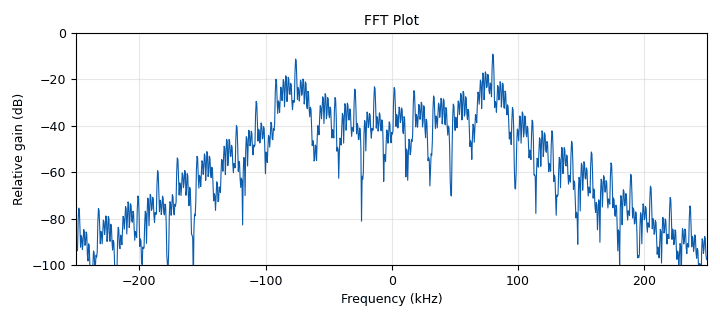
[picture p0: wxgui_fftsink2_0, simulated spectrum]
<?xml version='1.0' encoding='utf-8'?>
<?grc format='1' created='3.7.8'?>
<flow_graph>
<block>
<key>options</key>
<param><key>id</key><value>GFSK_tests</value></param>
<param><key>category</key><value>Custom</value></param>
<param><key>generate_options</key><value>wx_gui</value></param>
<param><key>realtime_scheduling</key><value>1</value></param>
</block>
<block>
<key>variable</key>
<param><key>id</key><value>audio_rate</value></param>
<param><key>value</key><value>125e3</value></param>
</block>
<block>
<key>variable</key>
<param><key>id</key><value>demod_samp_per_sym</value></param>
<param><key>value</key><value>64</value></param>
</block>
<block>
<key>variable</key>
<param><key>id</key><value>end_rate</value></param>
<param><key>value</key><value>(audio_rate/samp_per_sym)*demod_samp_per_sym</value></param>
</block>
<block>
<key>variable</key>
<param><key>id</key><value>samp_per_sym</value></param>
<param><key>value</key><value>4</value></param>
</block>
<block>
<key>variable</key>
<param><key>id</key><value>samp_rate</value></param>
<param><key>value</key><value>audio_rate*samp_per_sym</value></param>
</block>
<block>
<key>analog_random_source_x</key>
<param><key>id</key><value>analog_random_source_x_0</value></param>
<param><key>_enabled</key><value>0</value></param>
<param><key>max</key><value>255</value></param>
<param><key>min</key><value>0</value></param>
<param><key>num_samps</key><value>1000</value></param>
<param><key>type</key><value>byte</value></param>
<param><key>repeat</key><value>True</value></param>
</block>
<block>
<key>blocks_add_const_vxx</key>
<param><key>id</key><value>blocks_add_const_vxx_0</value></param>
<param><key>const</key><value>-1</value></param>
<param><key>type</key><value>float</value></param>
</block>
<block>
<key>blocks_char_to_float</key>
<param><key>id</key><value>blocks_char_to_float_0</value></param>
<param><key>scale</key><value>1</value></param>
</block>
<block>
<key>blocks_char_to_float</key>
<param><key>id</key><value>blocks_char_to_float_0_0</value></param>
<param><key>_enabled</key><value>0</value></param>
<param><key>scale</key><value>1</value></param>
</block>
<block>
<key>blocks_float_to_char</key>
<param><key>id</key><value>blocks_float_to_char_0</value></param>
<param><key>scale</key><value>1</value></param>
</block>
<block>
<key>blocks_multiply_const_vxx</key>
<param><key>id</key><value>blocks_multiply_const_vxx_0</value></param>
<param><key>const</key><value>2</value></param>
<param><key>type</key><value>float</value></param>
</block>
<block>
<key>blocks_throttle</key>
<param><key>id</key><value>blocks_throttle_0</value></param>
<param><key>samples_per_second</key><value>audio_rate</value></param>
<param><key>type</key><value>byte</value></param>
</block>
<block>
<key>blocks_throttle</key>
<param><key>id</key><value>blocks_throttle_0_0</value></param>
<param><key>_enabled</key><value>0</value></param>
<param><key>samples_per_second</key><value>audio_rate</value></param>
<param><key>type</key><value>byte</value></param>
</block>
<block>
<key>blocks_vector_source_x</key>
<param><key>id</key><value>blocks_vector_source_x_0</value></param>
<param><key>type</key><value>byte</value></param>
<param><key>repeat</key><value>True</value></param>
<param><key>vector</key><value>(1,1,0,0,1,0,1,0)</value></param>
</block>
<block>
<key>digital_gfsk_demod</key>
<param><key>id</key><value>digital_gfsk_demod_0</value></param>
<param><key>_enabled</key><value>0</value></param>
<param><key>freq_error</key><value>0.0</value></param>
<param><key>gain_mu</key><value>0.175</value></param>
<param><key>mu</key><value>0.5</value></param>
<param><key>omega_relative_limit</key><value>0.005</value></param>
<param><key>samples_per_symbol</key><value>demod_samp_per_sym</value></param>
<param><key>sensitivity</key><value>1.0</value></param>
</block>
<block>
<key>digital_gfsk_mod</key>
<param><key>id</key><value>digital_gfsk_mod_1</value></param>
<param><key>bt</key><value>0.35</value></param>
<param><key>samples_per_symbol</key><value>samp_per_sym</value></param>
<param><key>sensitivity</key><value>1.0</value></param>
</block>
<block>
<key>wxgui_constellationsink2</key>
<param><key>id</key><value>wxgui_constellationsink2_0</value></param>
<param><key>const_size</key><value>2048</value></param>
<param><key>_enabled</key><value>0</value></param>
<param><key>frame_rate</key><value>5</value></param>
<param><key>gain_mu</key><value>0.005</value></param>
<param><key>loop_bw</key><value>6.28/100.0</value></param>
<param><key>M</key><value>4</value></param>
<param><key>fmax</key><value>0.06</value></param>
<param><key>mu</key><value>0.5</value></param>
<param><key>omega_limit</key><value>0.005</value></param>
<param><key>samp_rate</key><value>samp_rate</value></param>
<param><key>symbol_rate</key><value>samp_rate</value></param>
<param><key>theta</key><value>0</value></param>
<param><key>title</key><value>Constellation Plot</value></param>
</block>
<block>
<key>wxgui_fftsink2</key>
<param><key>id</key><value>wxgui_fftsink2_0</value></param>
<param><key>avg_alpha</key><value>0</value></param>
<param><key>average</key><value>False</value></param>
<param><key>baseband_freq</key><value>0</value></param>
<param><key>fft_size</key><value>1024</value></param>
<param><key>freqvar</key><value>None</value></param>
<param><key>peak_hold</key><value>False</value></param>
<param><key>ref_level</key><value>0</value></param>
<param><key>ref_scale</key><value>2.0</value></param>
<param><key>fft_rate</key><value>15</value></param>
<param><key>samp_rate</key><value>samp_rate</value></param>
<param><key>title</key><value>FFT Plot</value></param>
<param><key>type</key><value>complex</value></param>
<param><key>win</key><value>None</value></param>
<param><key>y_divs</key><value>10</value></param>
<param><key>y_per_div</key><value>10</value></param>
</block>
<block>
<key>wxgui_scopesink2</key>
<param><key>id</key><value>wxgui_scopesink2_0</value></param>
<param><key>ac_couple</key><value>False</value></param>
<param><key>_enabled</key><value>0</value></param>
<param><key>num_inputs</key><value>1</value></param>
<param><key>samp_rate</key><value>end_rate</value></param>
<param><key>t_scale</key><value>0</value></param>
<param><key>title</key><value>scope</value></param>
<param><key>trig_mode</key><value>wxgui.TRIG_MODE_AUTO</value></param>
<param><key>type</key><value>float</value></param>
<param><key>v_offset</key><value>0</value></param>
<param><key>v_scale</key><value>0</value></param>
<param><key>xy_mode</key><value>False</value></param>
<param><key>y_axis_label</key><value>Counts</value></param>
</block>
<connection><source_block_id>analog_random_source_x_0</source_block_id><sink_block_id>blocks_throttle_0_0</sink_block_id><source_key>0</source_key><sink_key>0</sink_key></connection>
<connection><source_block_id>blocks_add_const_vxx_0</source_block_id><sink_block_id>blocks_float_to_char_0</sink_block_id><source_key>0</source_key><sink_key>0</sink_key></connection>
<connection><source_block_id>blocks_char_to_float_0</source_block_id><sink_block_id>blocks_multiply_const_vxx_0</sink_block_id><source_key>0</source_key><sink_key>0</sink_key></connection>
<connection><source_block_id>blocks_char_to_float_0_0</source_block_id><sink_block_id>wxgui_scopesink2_0</sink_block_id><source_key>0</source_key><sink_key>0</sink_key></connection>
<connection><source_block_id>blocks_float_to_char_0</source_block_id><sink_block_id>digital_gfsk_mod_1</sink_block_id><source_key>0</source_key><sink_key>0</sink_key></connection>
<connection><source_block_id>blocks_multiply_const_vxx_0</source_block_id><sink_block_id>blocks_add_const_vxx_0</sink_block_id><source_key>0</source_key><sink_key>0</sink_key></connection>
<connection><source_block_id>blocks_throttle_0</source_block_id><sink_block_id>blocks_char_to_float_0</sink_block_id><source_key>0</source_key><sink_key>0</sink_key></connection>
<connection><source_block_id>blocks_throttle_0_0</source_block_id><sink_block_id>digital_gfsk_mod_1</sink_block_id><source_key>0</source_key><sink_key>0</sink_key></connection>
<connection><source_block_id>blocks_vector_source_x_0</source_block_id><sink_block_id>blocks_throttle_0</sink_block_id><source_key>0</source_key><sink_key>0</sink_key></connection>
<connection><source_block_id>digital_gfsk_demod_0</source_block_id><sink_block_id>blocks_char_to_float_0_0</sink_block_id><source_key>0</source_key><sink_key>0</sink_key></connection>
<connection><source_block_id>digital_gfsk_mod_1</source_block_id><sink_block_id>wxgui_constellationsink2_0</sink_block_id><source_key>0</source_key><sink_key>0</sink_key></connection>
<connection><source_block_id>digital_gfsk_mod_1</source_block_id><sink_block_id>wxgui_fftsink2_0</sink_block_id><source_key>0</source_key><sink_key>0</sink_key></connection>
</flow_graph>
